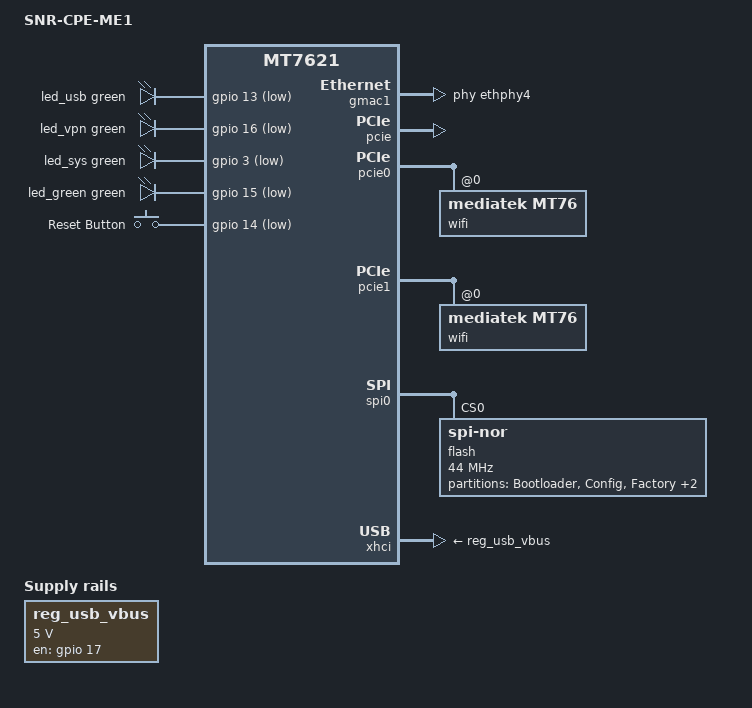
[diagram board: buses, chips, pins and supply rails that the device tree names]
// SPDX-License-Identifier: GPL-2.0-or-later
#include "mt7621.dtsi"

#include <dt-bindings/gpio/gpio.h>
#include <dt-bindings/input/input.h>
#include <dt-bindings/leds/common.h>

/ {
	compatible = "snr,snr-cpe-me1", "mediatek,mt7621-soc";
	model = "SNR-CPE-ME1";

	aliases {
		label-mac-device = &gmac1;

		led-boot = &led_usb;
		led-failsafe = &led_vpn;
		led-running = &led_green;
		led-upgrade = &led_sys;
	};

	leds {
		compatible = "gpio-leds";

		led_usb: led-0 { // USB Activity
			color = <LED_COLOR_ID_GREEN>;
			function = LED_FUNCTION_USB;
			gpios = <&gpio 13 GPIO_ACTIVE_LOW>; // [JTAG] JTDO
		};

		led_vpn: led-1 { // VPN Activity
			color = <LED_COLOR_ID_GREEN>;
			function = LED_FUNCTION_INDICATOR;
			gpios = <&gpio 16 GPIO_ACTIVE_LOW>; // [JTAG] JTCLK
		};

		led_sys: led-2 { // System config
			color = <LED_COLOR_ID_GREEN>;
			function = LED_FUNCTION_STATUS;
			gpios = <&gpio 3 GPIO_ACTIVE_LOW>; // [I2C] I2C_SD
			panic-indicator;
		};

		led_green: led-3 { // ? LED
			color = <LED_COLOR_ID_GREEN>;
			function = LED_FUNCTION_HEARTBEAT;
			gpios = <&gpio 15 GPIO_ACTIVE_LOW>; // [JTAG] JTMS
		};
	};

	keys {
		compatible = "gpio-keys";

		reset {
			label = "Reset Button";
			gpios = <&gpio 14 GPIO_ACTIVE_LOW>; // [JTAG] JTDI
			linux,code = <KEY_RESTART>;
		};
	};

	reg_usb_vbus: regulator {
		compatible = "regulator-fixed";
		regulator-name = "usb_vbus";
		regulator-min-microvolt = <5000000>;
		regulator-max-microvolt = <5000000>;
		gpios = <&gpio 17 GPIO_ACTIVE_HIGH>;
		enable-active-high;
	};
};

&gmac0 {
	nvmem-cells = <&macaddr_factory_e000>;
	nvmem-cell-names = "mac-address";
};

&gmac1 {
	status = "okay";
	label = "wan";
	phy-handle = <&ethphy4>;

	nvmem-cells = <&macaddr_factory_e006>;
	nvmem-cell-names = "mac-address";
};

&ethphy4 {
	/delete-property/ interrupts;
};

&pcie {
	status = "okay";
};

&pcie0 { // MT7603EN
	wifi@0,0 {
		compatible = "mediatek,mt76";
		reg = <0x0000 0 0 0 0>;
		nvmem-cells = <&eeprom_factory_0>;
		nvmem-cell-names = "eeprom";
		ieee80211-freq-limit = <2400000 2500000>;
	};
};

&pcie1 { // MT7610EN
	wifi@0,0 {
		compatible = "mediatek,mt76";
		reg = <0x0000 0 0 0 0>;
		nvmem-cells = <&eeprom_factory_8000>;
		nvmem-cell-names = "eeprom";
		ieee80211-freq-limit = <5000000 6000000>;
	};
};

&spi0 {
	status = "okay";

	flash@0 { // GD25Q128CSIG
		compatible = "jedec,spi-nor";
		reg = <0>;
		spi-max-frequency = <44000000>; // 44 MHz

		partitions {
			compatible = "fixed-partitions";
			#address-cells = <1>;
			#size-cells = <1>;

			partition@0 {
				label = "Bootloader";
				reg = <0x0 0x30000>;
				read-only;
			};

			partition@30000 {
				label = "Config";
				reg = <0x30000 0x10000>;
				read-only;
			};

			partition@40000 {
				label = "Factory";
				reg = <0x40000 0x10000>;
				read-only;

				nvmem-layout {
					compatible = "fixed-layout";
					#address-cells = <1>;
					#size-cells = <1>;

					eeprom_factory_0: eeprom@0 {
						reg = <0x0 0x400>;
					};

					eeprom_factory_8000: eeprom@8000 {
						reg = <0x8000 0x200>;
					};

					macaddr_factory_e000: macaddr@e000 {
						reg = <0xe000 0x6>;
					};

					macaddr_factory_e006: macaddr@e006 {
						reg = <0xe006 0x6>;
					};
				};
			};

			partition@50000 {
				compatible = "openwrt,uimage", "denx,uimage";
				label = "firmware";
				reg = <0x50000 0xfb0000>;
			};

			partition@30001 {
				label = "uboot-env";
				reg = <0x30000 0x1000>;
			};
		};
	};
};

&state_default {
	gpio {
		groups = "i2c", "jtag";
		function = "gpio";
	};
};

&switch0 {
	ports {
		port@0 {
			status = "okay";
			label = "lan4";
		};

		port@1 {
			status = "okay";
			label = "lan3";
		};

		port@2 {
			status = "okay";
			label = "lan2";
		};

		port@3 {
			status = "okay";
			label = "lan1";
		};
	};
};

&xhci {
	vbus-supply = <&reg_usb_vbus>;
};
